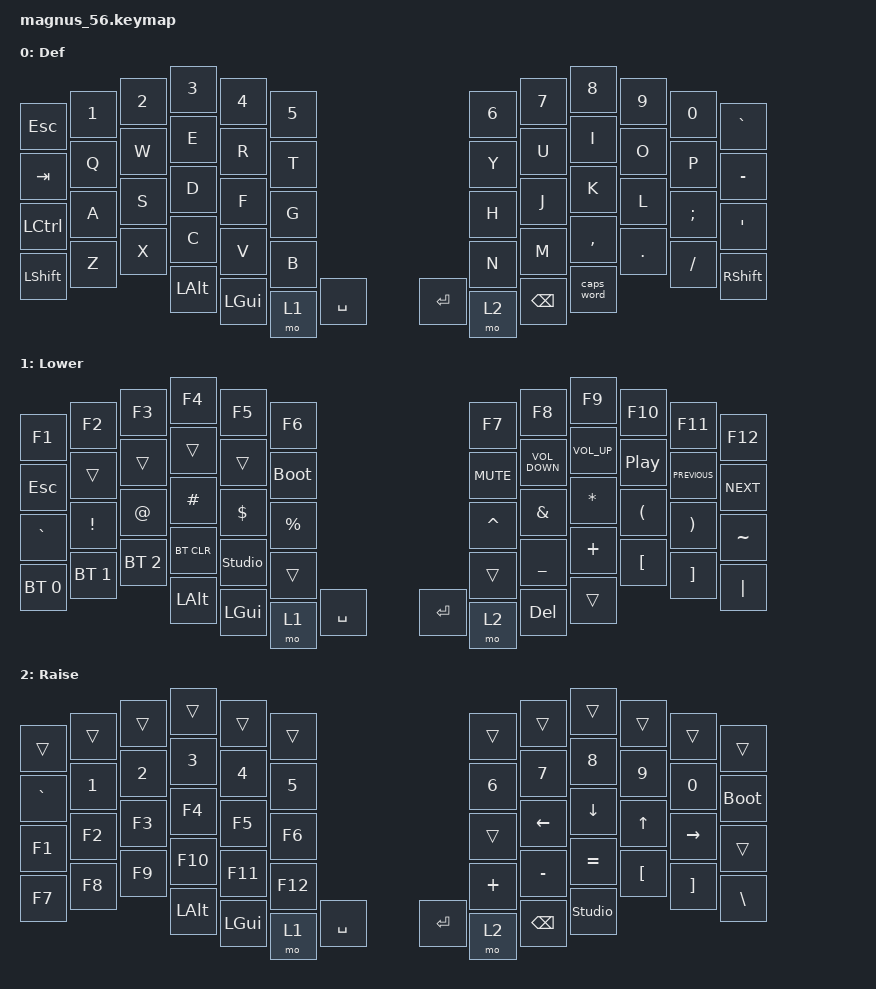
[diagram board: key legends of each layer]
#include <behaviors.dtsi>
#include <dt-bindings/zmk/keys.h>
#include <dt-bindings/zmk/bt.h>

/ {
    keymap {
        compatible = "zmk,keymap";

        default_layer {
            display-name = "Def";
            bindings = <
                &kp ESC     &kp N1    &kp N2    &kp N3    &kp N4    &kp N5        &kp N6    &kp N7    &kp N8    &kp N9          &kp N0    &kp GRAVE
                &kp TAB     &kp Q     &kp W     &kp E     &kp R     &kp T         &kp Y     &kp U     &kp I     &kp O           &kp P     &kp MINUS
                &kp LCTRL   &kp A     &kp S     &kp D     &kp F     &kp G         &kp H     &kp J     &kp K     &kp L           &kp SCLN  &kp QUOT
                &kp LSHIFT  &kp Z     &kp X     &kp C     &kp V     &kp B         &kp N     &kp M     &kp COMMA &kp DOT         &kp SLASH &kp RSHIFT
                                      &kp LALT  &kp LGUI  &mo 1     &kp SPACE     &kp ENTER &mo 2     &kp BSPC  &caps_word
            >;
        };

        lower_layer {
            display-name = "Lower";
            bindings = <
                &kp F1          &kp F2          &kp F3          &kp F4          &kp F5          &kp F6                  &kp F7      &kp F8              &kp F9          &kp F10             &kp F11         &kp F12
                &kp ESC         &trans          &trans          &trans          &trans          &bootloader             &kp C_MUTE  &kp C_VOLUME_DOWN   &kp C_VOLUME_UP &kp C_PLAY_PAUSE    &kp C_PREVIOUS  &kp C_NEXT
                &kp GRAVE       &kp EXCL        &kp AT          &kp HASH        &kp DOLLAR      &kp PERCENT             &kp CARET   &kp AMPS            &kp ASTRK       &kp LPAR            &kp RPAR        &kp TILDE
                &bt BT_SEL 0    &bt BT_SEL 1    &bt BT_SEL 2    &bt BT_CLR      &studio_unlock  &trans                  &trans      &kp UNDER           &kp PLUS        &kp LBKT            &kp RBKT        &kp PIPE
                                                &kp LALT        &kp LGUI        &mo 1           &kp SPACE               &kp ENTER   &mo 2               &kp DEL         &trans
            >;
        };

        raise_layer {
            display-name = "Raise";
            bindings = <
                &trans     &trans     &trans     &trans     &trans     &trans       &trans     &trans     &trans     &trans     &trans     &trans
                &kp GRAVE  &kp N1     &kp N2     &kp N3     &kp N4     &kp N5       &kp N6     &kp N7     &kp N8     &kp N9     &kp N0     &bootloader
                &kp F1     &kp F2     &kp F3     &kp F4     &kp F5     &kp F6       &trans     &kp LEFT   &kp DOWN   &kp UP     &kp RIGHT  &trans
                &kp F7     &kp F8     &kp F9     &kp F10    &kp F11    &kp F12      &kp PLUS   &kp MINUS  &kp EQUAL  &kp LBKT   &kp RBKT   &kp BSLH
                                      &kp LALT   &kp LGUI   &mo 1      &kp SPACE    &kp ENTER  &mo 2      &kp BSPC   &studio_unlock
            >;
        };

        extra1_layer {
            status = "reserved";
        };

        extra2_layer {
            status = "reserved";
        };

        extra3_layer {
            status = "reserved";
        };
    };
};
